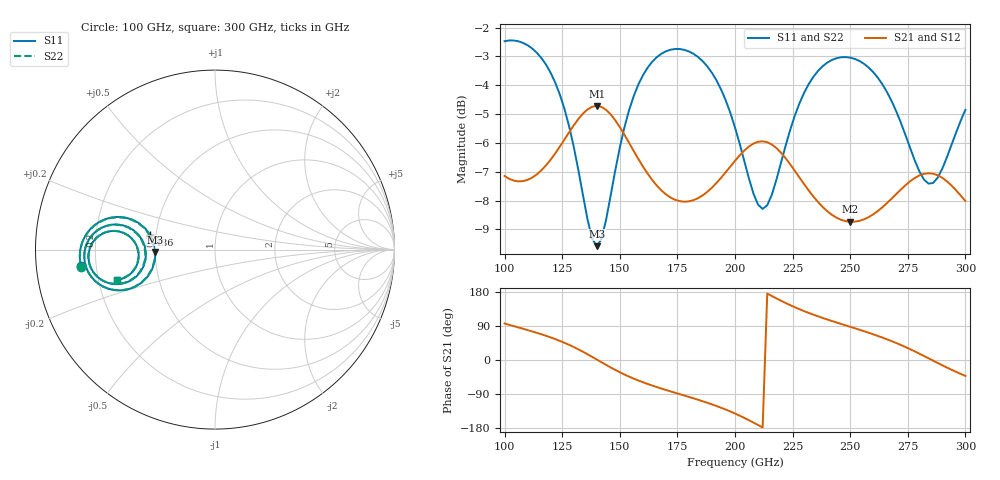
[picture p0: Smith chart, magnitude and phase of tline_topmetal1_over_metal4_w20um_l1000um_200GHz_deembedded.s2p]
! Created with skrf 2.2.0 (http://scikit-rf.org).
# GHz S DB R 50.0
! Port[1] = P1
! Port[2] = P2
!freq dBS11 angS11 dBS21 angS21 dBS12 angS12 dBS22 angS22
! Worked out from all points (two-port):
!   101 points, 100 GHz to 300 GHz, reference 50 ohm
!   highest |S21| = -4.72 dB at 140 GHz (marker M1); lowest = -8.7 dB at 250 GHz (marker M2)
!   |S21| within 3 dB of the highest: start of sweep to 169.1 GHz; 187.6 GHz to 232.7 GHz (45.02 GHz wide, 21.4 % of centre)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
!   lowest |S11| = -9.6 dB at 140 GHz (marker M3), VSWR 1.99, Z = 25.1 - j0.786 ohm
!   |S11| at or under -10 dB: nowhere
!   |S22| runs from -9.5 to -2.4 dB; largest |S21 - S12| = 6.2e-14
!   S11 on the Smith chart (normalised r, x): 100 GHz: 0.14, -0.06; 136 GHz: 0.47, +0.09; 300 GHz: 0.28, -0.14
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100  -2.47 -172.8  -7.15 96.3  -7.15 96.3  -2.47 -172.8
112  -2.73 174.6  -7.20 75.3  -7.20 75.3  -2.72 174.8
122  -3.91 164.7  -6.36 55.1  -6.36 55.1  -3.91 164.9
128  -5.42 160.4  -5.63 39.9  -5.63 39.9  -5.41 160.7
134  -7.80 163.0  -4.98 21.8  -4.98 21.8  -7.77 163.3
136  -8.66 167.4  -4.84 15.1  -4.84 15.1  -8.61 167.7
140  -9.58 -177.6  -4.72 1.2  -4.72 1.2  -9.51 -177.5
146  -7.84 -158.0  -5.01 -19.5  -5.01 -19.5  -7.78 -158.1
152  -5.46 -155.4  -5.72 -38.2  -5.72 -38.2  -5.43 -155.6
168  -2.91 -169.5  -7.64 -75.3  -7.64 -75.3  -2.90 -169.6
184  -3.02 175.7  -7.91 -105.0  -7.91 -105.0  -3.01 175.7
200  -5.46 165.2  -6.62 -141.2  -6.62 -141.2  -5.44 165.4
208  -7.75 172.4  -6.02 -165.1  -6.02 -165.1  -7.69 172.6
214  -8.16 -171.8  -5.97 175.4  -5.97 175.4  -8.08 -171.8
224  -5.54 -159.6  -6.75 144.6  -6.75 144.6  -5.49 -159.9
234  -3.71 -164.9  -7.86 119.7  -7.86 119.7  -3.69 -165.1
250  -3.04 -177.9  -8.73 87.6  -8.73 87.6  -3.03 -178.0
268  -4.55 170.0  -7.93 49.8  -7.93 49.8  -4.54 170.0
276  -6.17 170.6  -7.33 28.6  -7.33 28.6  -6.15 170.6
284  -7.41 -178.0  -7.05 4.5  -7.05 4.5  -7.38 -178.1
290  -6.89 -167.3  -7.21 -13.9  -7.21 -13.9  -6.86 -167.5
300  -4.85 -162.9  -8.02 -42.0  -8.02 -42.0  -4.84 -163.1
